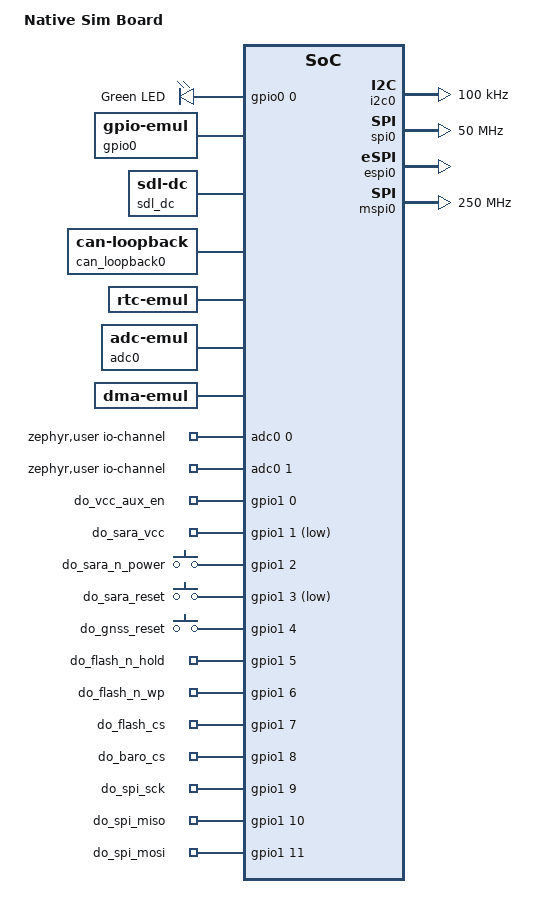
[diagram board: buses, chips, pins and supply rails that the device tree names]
/*
 * Copyright (c) 2019 Jan Van Winkel (jan.van_winkel@dxplore.eu)
 *
 * SPDX-License-Identifier: Apache-2.0
 */

/dts-v1/;
#include <posix/posix.dtsi>
#include <zephyr/dt-bindings/adc/adc.h>
#include <zephyr/dt-bindings/i2c/i2c.h>
#include <zephyr/dt-bindings/gpio/gpio.h>

/ {
	model = "Native Sim Board";
	compatible = "zephyr,posix";

	chosen {
		zephyr,console = &uart0;
		zephyr,shell-uart = &uart0;
		zephyr,uart-mcumgr = &uart0;
		zephyr,flash = &flash0;
		zephyr,entropy = &rng;
		zephyr,flash-controller = &flashcontroller0;
		zephyr,display = &sdl_dc;
		zephyr,canbus = &can_loopback0;
		zephyr,code-partition = &slot0_partition;
		zephyr,bt-hci = &bt_hci_userchan;
	};

	aliases {
		eeprom-0 = &eeprom0;
		i2c-0 = &i2c0;
		spi-0 = &spi0;
		led0 = &led0;
		rtc = &rtc;
	};

	leds {
		compatible = "gpio-leds";
		led0: led_0 {
			gpios = <&gpio0 0 GPIO_ACTIVE_HIGH>;
			label = "Green LED";
		};
	};

	lvgl_pointer {
		compatible = "zephyr,lvgl-pointer-input";
		input = <&input_sdl_touch>;
	};

	cpus {
		#address-cells = <1>;
		#size-cells = <0>;

		cpu0: cpu@0 {
			compatible = "zephyr,native-posix-cpu";
			reg = <0>;
		};
	};

	flashcontroller0: flash-controller@0 {
		compatible = "zephyr,sim-flash";
		reg = <0x00000000 DT_SIZE_K(2048)>;

		#address-cells = <1>;
		#size-cells = <1>;
		erase-value = <0xff>;

		flash0: flash@0 {
			status = "okay";
			compatible = "soc-nv-flash";
			erase-block-size = <4096>;
			write-block-size = <1>;
			reg = <0x00000000 DT_SIZE_K(2048)>;

			partitions {
				compatible = "fixed-partitions";
				#address-cells = <1>;
				#size-cells = <1>;

				boot_partition: partition@0 {
					label = "mcuboot";
					reg = <0x00000000 0x0000C000>;
				};
				slot0_partition: partition@c000 {
					label = "image-0";
					reg = <0x0000C000 0x00069000>;
				};
				slot1_partition: partition@75000 {
					label = "image-1";
					reg = <0x00075000 0x00069000>;
				};
				scratch_partition: partition@de000 {
					label = "image-scratch";
					reg = <0x000de000 0x0001e000>;
				};
				storage_partition: partition@fc000 {
					label = "storage";
					reg = <0x000fc000 0x00004000>;
				};
			};
		};
	};

	eeprom0: eeprom {
		status = "okay";
		compatible = "zephyr,sim-eeprom";
		size = <DT_SIZE_K(32)>;
	};

	i2c0: i2c@100 {
		status = "okay";
		compatible = "zephyr,i2c-emul-controller";
		clock-frequency = <I2C_BITRATE_STANDARD>;
		#address-cells = <1>;
		#size-cells = <0>;
		reg = <0x100 4>;
	};

	spi0: spi@200 {
		status = "okay";
		compatible = "zephyr,spi-emul-controller";
		clock-frequency = <50000000>;
		#address-cells = <1>;
		#size-cells = <0>;
		reg = <0x200 4>;
	};

	espi0: espi@300 {
		status = "okay";
		compatible = "zephyr,espi-emul-controller";
		reg = <0x300 4>;
		#address-cells = <1>;
		#size-cells = <0>;
	};

	mspi0: mspi@400 {
		status = "okay";
		compatible = "zephyr,mspi-emul-controller";
		clock-frequency = <250000000>;
		reg = <0x400 4>;
		#address-cells = <1>;
		#size-cells = <0>;
	};

	uart0: uart {
		status = "okay";
		compatible = "zephyr,native-posix-uart";
		/* Dummy current-speed entry to comply with serial
		 * DTS binding
		 */
		current-speed = <0>;
	};

	uart1: uart_1 {
		status = "okay";
		compatible = "zephyr,native-posix-uart";
		/* Dummy current-speed entry to comply with serial
		 * DTS binding
		 */
		current-speed = <0>;
	};

	rng: rng {
		status = "okay";
		compatible = "zephyr,native-posix-rng";
	};

	counter0: counter {
		status = "okay";
		compatible = "zephyr,native-posix-counter";
	};

	gpio0: gpio_emul {
		status = "okay";
		compatible = "zephyr,gpio-emul";
		rising-edge;
		falling-edge;
		high-level;
		low-level;
		gpio-controller;
		#gpio-cells = <2>;
	};

	zephyr_udc0: udc0 {
		compatible = "zephyr,native-posix-udc";
	};

	sdl_dc: sdl_dc {
		compatible = "zephyr,sdl-dc";
		height = <240>;
		width = <320>;
	};

	input_sdl_touch: input-sdl-touch {
		compatible = "zephyr,input-sdl-touch";
	};

	can_loopback0: can_loopback0 {
		status = "okay";
		compatible = "zephyr,can-loopback";
	};

	can0: can {
		status = "disabled";
		compatible = "zephyr,native-linux-can";
		/* adjust zcan0 to desired host interface or create an alternative
		 * name, e.g.: sudo ip link property add dev vcan0 altname zcan0
		 */
		host-interface = "zcan0";
	};

	rtc: rtc {
		status = "okay";
		compatible = "zephyr,rtc-emul";
		alarms-count = <2>;
	};

	adc0: adc {
		compatible = "zephyr,adc-emul";
		nchannels = <2>;
		#io-channel-cells = <1>;
		status = "okay";
	};

	dma: dma {
		compatible = "zephyr,dma-emul";
		#dma-cells = <1>;
		stack-size = <4096>;
	};

	bt_hci_userchan: bt_hci_userchan {
		compatible = "zephyr,bt-hci-userchan";
		status = "okay";
	};
};


//&gpio0 {
//	ngpios = <16>;
//};

/ {
	aliases {
		modem-uart = &uart1;
		modem = &modem;
	};

	zephyr,user {
		io-channels = <&adc0 0>, <&adc0 1>;
	};

	gpio1: gpio_emul {
		status = "okay";
		compatible = "zephyr,gpio-emul";
		rising-edge;
		falling-edge;
		high-level;
		low-level;
		gpio-controller;
		#gpio-cells = <2>;
	};

	uart2: uart2 {
		status = "okay";
		compatible = "zephyr,native-tty-uart";
		serial-port = "/dev/ttyUSB1";
		current-speed = <115200>;
	};

	// modem
	uart3: uart3 {
		status = "okay";
		compatible = "zephyr,native-tty-uart";
		//hw-flow-control;
		current-speed = <115200>;
		serial-port = "/dev/ttyUSB2";

		modem: modem {
			compatible = "u-blox,sara-r5";
			status = "okay";
			//mdm-power-gpios = <&gpio0 20 GPIO_ACTIVE_LOW>;
		};
	};

	buttons: gpio-keys0 {
		compatible = "gpio-keys";
		debounce-interval-ms = <30>;

		do_vcc_aux_en: vcc_aux_en {
			gpios = <&gpio1 0 GPIO_ACTIVE_HIGH>;
		};

		do_sara_vcc: sara_vcc {
			gpios = <&gpio1 1 GPIO_ACTIVE_LOW>;
		};

		do_sara_n_power: sara_n_power {
			gpios = <&gpio1 2 GPIO_ACTIVE_HIGH>;
		};

		do_sara_reset: sara_reset {
			gpios = <&gpio1 3 GPIO_ACTIVE_LOW>;
		};

		do_gnss_reset: gnss_reset {
			gpios = <&gpio1 4 GPIO_ACTIVE_HIGH>;
		};

		do_flash_n_hold: flash_n_hold {
			gpios = <&gpio1 5 GPIO_ACTIVE_HIGH>;
		};

		do_flash_n_wp: flash_n_wp {
			gpios = <&gpio1 6 GPIO_ACTIVE_HIGH>;
		};

		do_flash_cs: flash_cs {
			gpios = <&gpio1 7 GPIO_ACTIVE_HIGH>;
		};

		do_baro_cs: baro_cs {
			gpios = <&gpio1 8 GPIO_ACTIVE_HIGH>;
		};

		do_spi_sck: spi_sck {
			gpios = <&gpio1 9 GPIO_ACTIVE_HIGH>;
		};

		do_spi_miso: spi_miso {
			gpios = <&gpio1 10 GPIO_ACTIVE_HIGH>;
		};

		do_spi_mosi: spi_mosi {
			gpios = <&gpio1 11 GPIO_ACTIVE_HIGH>;
		};

		//        do_sara_tx: sara_tx {
		//            gpios = <&gpioa 9 GPIO_ACTIVE_HIGH>;
		//        };
		//
		//        do_sara_rx: sara_rx {
		//            gpios = <&gpioa 10 GPIO_ACTIVE_HIGH>;
		//        };
		//
		//        do_sara_cts: sara_cts {
		//            gpios = <&gpioa 11 GPIO_ACTIVE_HIGH>;
		//        };
		//
		//        do_sara_rts: sara_rts {
		//            gpios = <&gpioa 12 GPIO_ACTIVE_HIGH>;
		//        };

	};

	adc0: adc {
		compatible = "zephyr,adc-emul";
		nchannels = <2>;
		#io-channel-cells = <1>;
		status = "okay";

		ref-internal-mv = <3300>;
		ref-external1-mv = <5000>;
		#address-cells = <1>;
		#size-cells = <0>;

		channel@0 {
			reg = <0>;
			zephyr,gain = "ADC_GAIN_1";
			zephyr,reference = "ADC_REF_INTERNAL";
			zephyr,acquisition-time = <ADC_ACQ_TIME_DEFAULT>;
			zephyr,resolution = <10>;
		};

		channel@1 {
			reg = <1>;
			zephyr,gain = "ADC_GAIN_1";
			zephyr,reference = "ADC_REF_INTERNAL";
			zephyr,acquisition-time = <ADC_ACQ_TIME_DEFAULT>;
			zephyr,resolution = <10>;
		};
	};
};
